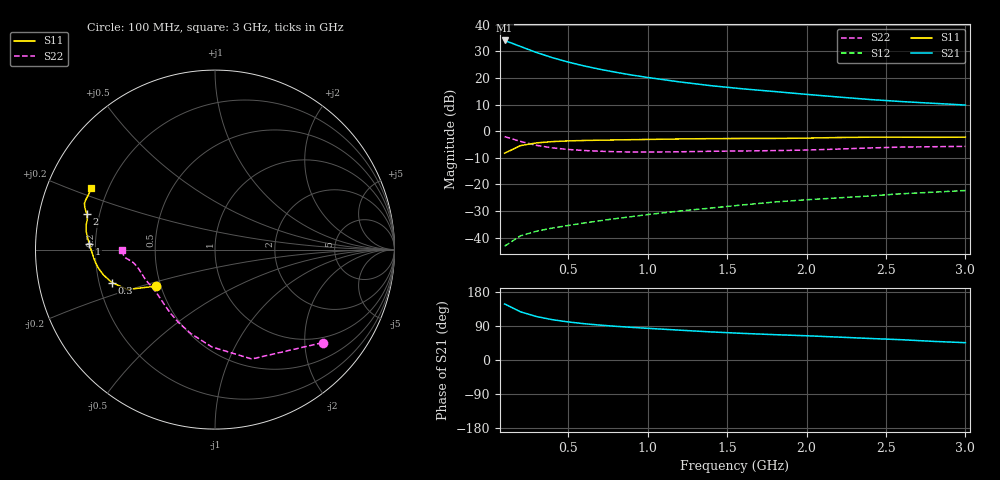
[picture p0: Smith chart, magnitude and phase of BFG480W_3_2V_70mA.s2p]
! Filename: 3_270BFG480.001
! Title: BFG480W
! Bias: Vce=3.2V; Ic=70mA
! Company: Philips Semiconductors NL
! User: Quality&Reliability T&D
! Measure time: 10 Nov 1999 / 11:57:22
#  MHz  S  MA  R 50
! Freq  S11  S21  S12  S22  :
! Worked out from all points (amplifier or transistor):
!   20 points, 100 MHz to 3 GHz, reference 50 ohm
!   highest |S21| = 34.2 dB at 100 MHz (marker M1)
!   |S21| within 3 dB of that: start of sweep to 232.9 MHz
!   unconditionally stable (mu >= 1): 828 MHz to end of sweep
!   at 400 MHz: K = 0.74, MSG = 32.1 dB, |S12| = -36.4 dB
!   at 1.2 GHz: K = 1.07, MAG = 22.7 dB, |S12| = -30.0 dB
!   at 3 GHz: K = 1.06, MAG = 14.6 dB, |S12| = -22.3 dB
!   S11 on the Smith chart (normalised r, x): 100 MHz: 0.47, -0.23; 300 MHz: 0.25, -0.15; 1 GHz: 0.18, +0.02; 2 GHz: 0.15, +0.13; 3 GHz: 0.14, +0.23
100  0.3856 -148.1  51.02 148.0  0.006874 69.0  0.7924 -40.9
200  0.536 -155.5  39.34 127.2  0.01077 59.1  0.643 -71.4
300  0.6033 -162.3  30.35 114.7  0.01312 56.7  0.5425 -91.9
400  0.6374 -167.2  24.23 106.4  0.01507 57.4  0.486 -106.3
500  0.6573 -170.9  20.01 100.4  0.01684 59.3  0.4536 -116.8
600  0.6697 -173.8  16.92 95.8  0.01874 61.0  0.4334 -124.7
700  0.6782 -176.4  14.64 92.1  0.02068 63.2  0.42 -130.8
800  0.6854 -178.6  12.85 88.9  0.02269 65.0  0.4113 -135.9
900  0.6935 179.3  11.42 86.2  0.02475 67.0  0.4065 -140.4
1000  0.7003 177.4  10.27 83.6  0.02701 68.3  0.4052 -144.3
1200  0.715 174.2  8.484 78.8  0.03147 70.2  0.4105 -150.7
1400  0.7256 171.8  7.185 74.1  0.03591 71.6  0.4195 -155.4
1600  0.7308 169.4  6.269 70.2  0.04106 72.7  0.4252 -159.1
1800  0.7313 166.7  5.575 66.9  0.0466 73.5  0.4317 -162.9
2000  0.7419 164.4  4.936 63.9  0.05136 74.3  0.4424 -167.3
2200  0.7615 162.2  4.404 60.4  0.05574 74.4  0.4612 -171.0
2400  0.7719 160.5  3.949 56.8  0.06063 74.0  0.4849 -173.4
2600  0.7716 158.7  3.612 53.5  0.06664 73.5  0.5029 -174.9
2800  0.768 156.5  3.349 49.1  0.07133 72.2  0.5113 -176.8
3000  0.7726 153.8  3.11 45.7  0.07665 71.5  0.5186 -179.7
